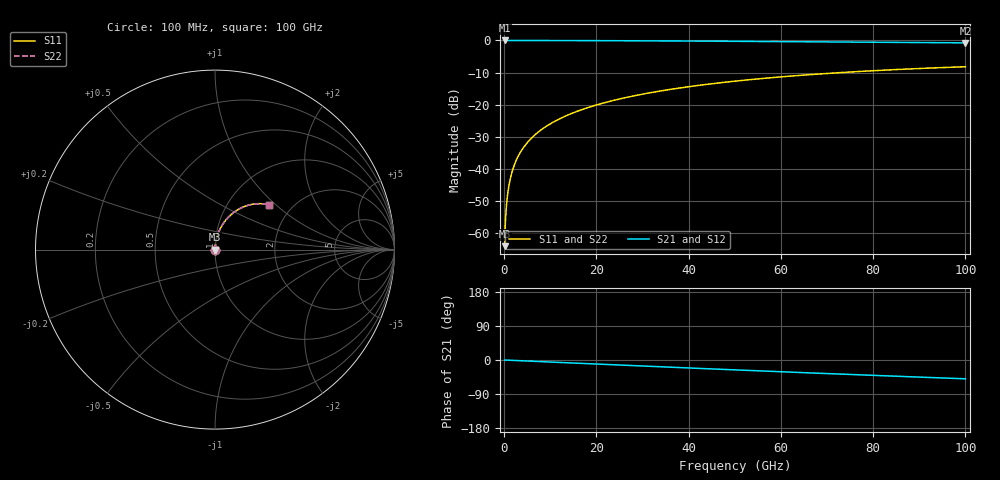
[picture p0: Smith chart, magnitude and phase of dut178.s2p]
! Touchstone file exported from HFSS 2026.1.0
!  File:  C:/ffzhzh/LocalFiles/Ansys_Project_Files/temp_train_TSV_178_1783507059_55944.aedt
!  Generated:  06:39:08 PM Jul  8, 2026
!  Design:  TSV
!  Project:  temp_train_TSV_178_1783507059_55944
! Variables:
!  h_bsmrdl = 2um
!  h_ox = 20um
!  h_rdl = 5um
!  h_sub = 85.16um
!  h_tmrdl = 5um
!  h_tsv = 85.16um
!  h_via = 3um
!  l_bsmrdl = 300um
!  l_sub = 411.84um
!  l_tmrdl = 200um
!  m_sub = 200um
!  pitch = 58.21um
!  r_tsv = 5.92um
!  s_tmrdl = 10um
!  w_bsmrdl = 18um
!  w_sub = 500um
!  w_tmrdl = 12um
!  x_tsv_center1 = 206um
!  x_tsv_center2 = 524um
!  x_tsv_center3 = 736um
!  x_tsv_center4 = 1054um
!  x_tsv_center5 = 1266um
!  x_tsv_center6 = 1584um
# GHz S MA R 50.000000
! Terminal data exported
! Port[1] = TSV1_1_T1
! Port[2] = TSV1_1_T2
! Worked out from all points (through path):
!   1000 points, 100 MHz to 100 GHz, reference 50 ohm
!   highest |S21| = 0.00 dB at 100 MHz (marker M1); lowest = -0.8 dB at 100 GHz (marker M2)
!   group delay of S21, straight-line fit = 1.38 ps
!   lowest |S11| = -64.1 dB at 100 MHz (marker M3), VSWR 1.00, Z = 50 + j0.0542 ohm
!   |S11| at or under -10 dB: start of sweep to 73.11 GHz
!   |S22| runs from -64.1 to -8.2 dB; largest |S21 - S12| = 3.6e-15
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0.1  0.0006237 60.2  0.9997 -0.1  0.9997 -0.1  0.0006237 60.2
! Gamma 0 0 0 0
! Port Impedance 50 0 50 0
0.3  0.001637 78.0  0.9997 -0.2  0.9997 -0.2  0.001637 78.0
0.7  0.003714 83.8  0.9996 -0.4  0.9996 -0.4  0.003714 83.8
0.8  0.004234 84.3  0.9996 -0.4  0.9996 -0.4  0.004234 84.3
1  0.005274 84.9  0.9996 -0.6  0.9996 -0.6  0.005274 84.9
1.3  0.006828 85.4  0.9995 -0.7  0.9995 -0.7  0.006828 85.4
1.7  0.008888 85.7  0.9994 -0.9  0.9994 -0.9  0.008888 85.7
2.3  0.01195 85.8  0.9993 -1.3  0.9993 -1.3  0.01195 85.8
3  0.01548 85.7  0.9991 -1.6  0.9991 -1.6  0.01548 85.7
3.8  0.01949 85.5  0.999 -2.1  0.999 -2.1  0.01949 85.5
4.8  0.02448 85.2  0.9987 -2.6  0.9987 -2.6  0.02448 85.2
6  0.03044 84.8  0.9985 -3.2  0.9985 -3.2  0.03044 84.8
8.8  0.04431 83.6  0.9977 -4.7  0.9977 -4.7  0.04431 83.6
12.4  0.062 81.9  0.9965 -6.6  0.9965 -6.6  0.062 81.9
16.8  0.08338 79.8  0.9947 -9.0  0.9947 -9.0  0.08338 79.8
24.2  0.1187 76.1  0.9908 -12.9  0.9908 -12.9  0.1187 76.1
33.4  0.1611 71.5  0.9845 -17.6  0.9845 -17.6  0.1611 71.5
41.2  0.1954 67.6  0.978 -21.6  0.978 -21.6  0.1954 67.6
50.1  0.2325 63.2  0.9697 -26.1  0.9697 -26.1  0.2325 63.2
66.7  0.2948 55.1  0.9523 -34.3  0.9523 -34.3  0.2948 55.1
83.4  0.3476 47.4  0.9342 -42.1  0.9342 -42.1  0.3476 47.4
100  0.3896 39.9  0.9172 -49.6  0.9172 -49.6  0.3896 39.9
